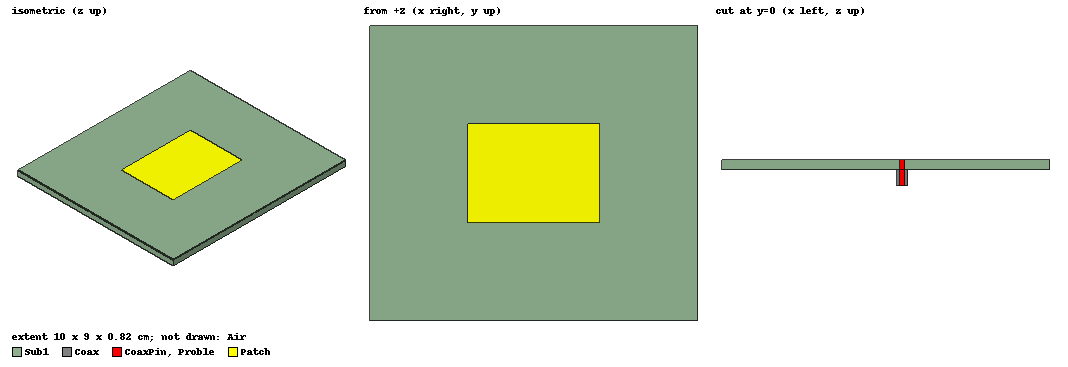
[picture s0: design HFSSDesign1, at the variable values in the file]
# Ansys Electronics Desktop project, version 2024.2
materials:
  vacuum: permittivity=1
  Rogers RT/duroid 5880 (tm): permittivity=2.2 dielectric_loss_tangent=0.0009
  polyethylene: permittivity=2.25 dielectric_loss_tangent=0.001
  pec: conductivity=1e+30
  air: permittivity=1.0006 permeability=1.0000004

design HFSSDesign1 (HFSS, HFSS Terminal Network, model units cm)
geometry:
  Sub1 [Rogers RT/duroid 5880 (tm)] = box(corner=(-5cm, -4.5cm, 0cm), size=(10cm, 9cm, 0.32cm))
  Inf_GND [Rogers RT/duroid 5880 (tm)] = object_from(Sub1.face(-z))
  Cutout = circle(normal=Z, centre=(-0.5cm, 0cm, 0cm), radius=0.16cm)
  Inf_GND.subtract(Cutout)
  Patch = rectangle(corner=(-2cm, -1.5cm, 0.32cm), x_size=4cm, y_size=3cm)
  Coax [polyethylene] = cylinder(axis=Z, base_centre=(-0.5cm, 0cm, 0cm), radius=0.16cm, height=-0.5cm)
  CoaxPin [pec] = cylinder(axis=Z, base_centre=(-0.5cm, 0cm, 0cm), radius=0.07cm, height=-0.5cm)
  Proble [pec] = cylinder(axis=Z, base_centre=(-0.5cm, 0cm, 0cm), radius=0.07cm, height=0.32cm)
  Air [air] = box(corner=(-5cm, -4.5cm, 0cm), size=(10cm, 9cm, 3.32cm))
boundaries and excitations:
  PerfE1: Perfect E Objects=Inf_GND InfGroundPlane
  PerfE_Patch: Perfect E Objects=Patch
  Rad1: Radiation Faces=Air.face(+z, -y, -x, +y, +x)
  CoaxPin_T1: Terminal port=P1 Faces=CoaxPin.face(-z end) TerminalResistance=50ohm
  P1: Wave Port Faces=Coax.face(-z end) WavePortType=Terminal NumModes=1
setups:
  Setup1: HfssDriven Frequency=2.25GHz MaxDeltaS=0.02 MaximumPasses=20 MinimumPasses=1 MinimumConvergedPasses=1 PercentRefinement=30 BasisOrder=1 PortAccuracy=2 DrivenSolverType="Direct Solver"
    sweep Sweep: 1GHz to 3.5GHz, 201 points; Type=Fast SaveFields
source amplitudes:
  P1:1: 1V 0deg
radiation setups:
  ff_2d: Infinite Sphere Theta=-180deg..180deg step 2deg Phi=0deg..90deg step 90deg
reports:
  Terminal S Parameter Plot 1: dB(St(CoaxPin_T1,CoaxPin_T1)) vs Freq on Setup1 : Sweep; markers m2 at 2.25GHz, m3 at 2.3625GHz
  Terminal S Parameter Chart 1: St(CoaxPin_T1,CoaxPin_T1) on Setup1 : Sweep [Freq=all]; markers m1 at 2.3625GHz
